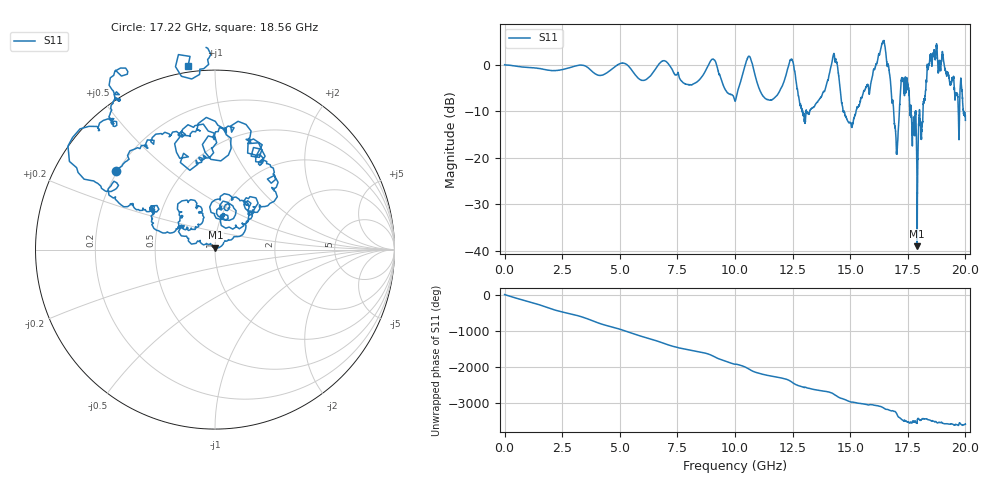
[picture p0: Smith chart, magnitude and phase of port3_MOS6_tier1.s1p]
! Created with skrf 1.8.0 (http://scikit-rf.org).
# GHz S RI R 50.0
!freq ReS11 ImS11
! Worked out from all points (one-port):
!   10001 points, 1 MHz to 20 GHz, reference 50 ohm
!   lowest |S11| = -39.1 dB at 17.91 GHz (marker M1), VSWR 1.02, Z = 50.3 + j1.09 ohm
!   |S11| at or under -10 dB: 14.73 GHz to 15.25 GHz (521.9 MHz wide, 3.48 % of centre); 16.89 GHz to 17.14 GHz (247.9 MHz wide, 1.46 % of centre); 17.64 GHz to 17.85 GHz (206.7 MHz wide, 1.16 % of centre) (the widest 3 of 16)
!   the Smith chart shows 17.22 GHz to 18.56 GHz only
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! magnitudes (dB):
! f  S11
! 1 MHz  0.0
! 2.501 GHz  -1.1
! 5.001 GHz  0.2
! 5.969 GHz  -3.4
! 6.895 GHz  0.8
! 7.501 GHz  -2.0
! 8.185 GHz  -4.2
! 9.065 GHz  1.1
! 10 GHz  -7.8
! 10.58 GHz  1.8
! 11.47 GHz  -7.6
! 12.5 GHz  0.8
! 13.03 GHz  -12.3
! 14.33 GHz  0.8
! 14.69 GHz  -10.1
! 15 GHz  -12.4
! 16.42 GHz  4.8
! 16.69 GHz  -1.2
! 17 GHz  -17.8
! 17.24 GHz  -3.2
! 17.5 GHz  -5.2
! 17.91 GHz  -39.1
! 17.99 GHz  -11.7
! 18.42 GHz  -0.1
! 18.68 GHz  2.1
! 19.65 GHz  -6.3
! 19.85 GHz  -5.5
! 20 GHz  -12.0
